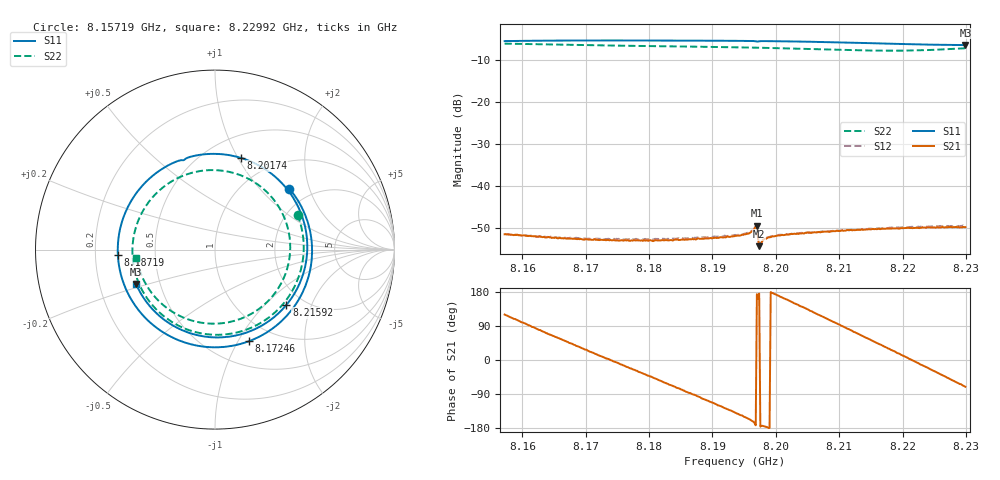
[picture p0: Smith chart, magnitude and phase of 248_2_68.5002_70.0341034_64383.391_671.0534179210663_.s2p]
#  HZ  S  RI  R  50.00
! Rohde & Schwarz Vector Network Analyzer
! Rohde-Schwarz,ZNB20-2Port,1311601062101988,3.16
! Created: UTC 3/20/2024, 4:59:44 PM
! freq[Hz]  re:S11  im:S11  re:S21  im:S21  re:S12  im:S12  re:S22  im:S22
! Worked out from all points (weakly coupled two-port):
!   401 points, 8.15719 GHz to 8.22992 GHz, reference 50 ohm
!   highest |S21| = -49.43 dB at 8.19701 GHz (marker M1); lowest = -54.3 dB at 8.19737 GHz (marker M2)
!   lowest |S11| = -6.4 dB at 8.22992 GHz (marker M3), VSWR 2.84, Z = 18.3 - j9.1 ohm
!   |S11| at or under -10 dB: nowhere
!   |S22| runs from -7.7 to -6.0 dB; largest |S21 - S12| = 0.00024
!   S11 on the Smith chart (normalised r, x): 8.15719 GHz: 1.56, +1.48; 8.17246 GHz: 0.76, -1.11; 8.18719 GHz: 0.30, -0.02; 8.20174 GHz: 0.72, +1.03; 8.21592 GHz: 1.63, -1.35; 8.22992 GHz: 0.37, -0.18
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8.157187e9  0.4146 0.3385  -0.00133 0.00231  -0.00134 0.00232  0.4598 0.1941
8.16337e9  0.5394 -0.0466  0.000676 0.0024  0.000642 0.0024  0.4584 -0.1722
8.16937e9  0.3664 -0.4022  0.00199 0.00121  0.00203 0.00128  0.2232 -0.4253
8.172461e9  0.1884 -0.5109  0.00226 0.000397  0.00229 0.000386  0.0524 -0.4731
8.176825e9  -0.1054 -0.534  0.00209 -0.000791  0.00218 -0.000861  -0.1899 -0.4302
8.181553e9  -0.3879 -0.3807  0.00135 -0.00181  0.00138 -0.00189  -0.3874 -0.2573
8.18719e9  -0.5412 -0.0287  -7.7e-05 -0.00234  -0.000179 -0.00243  -0.4574 0.0427
8.190281e9  -0.5087 0.1836  -0.000995 -0.0022  -0.00111 -0.00227  -0.407 0.2058
8.193554e9  -0.3861 0.376  -0.00192 -0.00167  -0.00202 -0.00168  -0.2914 0.3454
8.196645e9  -0.203 0.4949  -0.00304 -0.000734  -0.00312 -0.000624  -0.1385 0.425
8.197009e9  -0.1771 0.4979  -0.00336 0.000362  -0.00342 0.000521  -0.1188 0.4302
8.197373e9  -0.1618 0.5076  -0.00192 0.000158  -0.00194 0.000216  -0.0991 0.4349
8.197736e9  -0.1362 0.5172  -0.0021 -0.000238  -0.00216 -0.000158  -0.0787 0.4384
8.201737e9  0.1447 0.5109  -0.00249 0.000928  -0.00247 0.00104  0.1452 0.4132
8.205737e9  0.3812 0.3608  -0.00172 0.00219  -0.00166 0.00229  0.3288 0.2761
8.210828e9  0.5139 0.031  0.000171 0.00294  0.000242 0.00296  0.4187 -0.00847
8.21592e9  0.398 -0.3079  0.00216 0.00217  0.00228 0.00217  0.291 -0.2913
8.21792e9  0.2911 -0.4045  0.00272 0.00153  0.00283 0.00151  0.1866 -0.3663
8.220829e9  0.0968 -0.4823  0.00317 0.000309  0.00325 0.000152  0.00256 -0.4127
8.223557e9  -0.0994 -0.4765  0.00306 -0.000945  0.00313 -0.00113  -0.1766 -0.3784
8.227012e9  -0.3185 -0.3616  0.00223 -0.00235  0.00219 -0.00254  -0.3598 -0.2316
8.229921e9  -0.4394 -0.192  0.00108 -0.00306  0.00096 -0.00322  -0.4374 -0.0458
